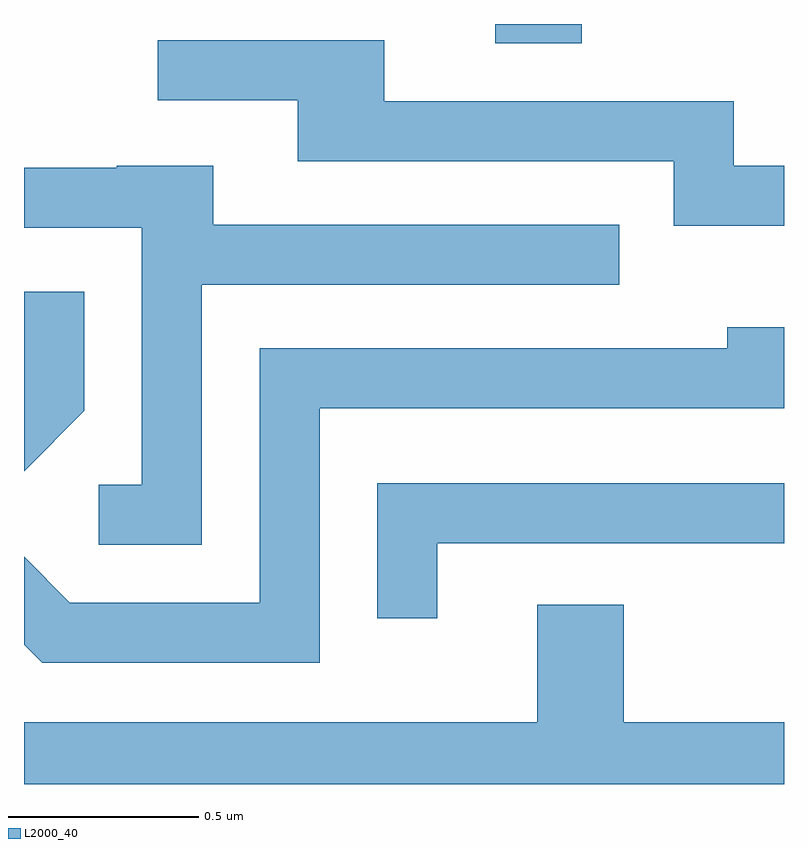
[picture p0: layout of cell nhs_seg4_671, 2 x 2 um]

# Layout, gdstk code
import gdstk
lib = gdstk.Library(unit=1e-6, precision=1e-09)
def R(c, l, rs):  # rectangles x0, y0, x1, y1
    for r in rs: c.add(gdstk.rectangle(r[:2], r[2:], *l))
def P(c, l, *ps):  # polygons
    for p in ps: c.add(gdstk.Polygon(p, *l))
L2000_40 = (2000, 40)

nhs_seg4_671 = lib.new_cell('nhs_seg4_671')
R(nhs_seg4_671, L2000_40, [(190.851,1378.931,191.079,1378.982)])
P(nhs_seg4_671, L2000_40, [(191.611,1378.609),(191.479,1378.609),(191.479,1378.779),(190.559,1378.779),(190.559,1378.939),(189.963,1378.939),(189.963,1378.781),(190.331,1378.781),(190.331,1378.621),(191.321,1378.621),(191.321,1378.451),(191.611,1378.451)],
  [(190.079,1378.296),(191.178,1378.296),(191.178,1378.454),(190.109,1378.454),(190.109,1378.609),(189.855,1378.609),(189.855,1378.604),(189.611,1378.604),(189.611,1378.446),(189.921,1378.446),(189.921,1377.769),(189.808,1377.769),(189.808,1377.611),(190.079,1377.611)],
  [(189.769,1377.964),(189.769,1378.278),(189.611,1378.278),(189.611,1377.805)],
  [(190.389,1377.971),(191.611,1377.971),(191.611,1378.184),(191.461,1378.184),(191.461,1378.129),(190.231,1378.129),(190.231,1377.459),(189.732,1377.459),(189.611,1377.58),(189.611,1377.349),(189.659,1377.301),(190.389,1377.301)],
  [(190.699,1377.616),(191.611,1377.616),(191.611,1377.774),(190.541,1377.774),(190.541,1377.418),(190.699,1377.418)],
  [(191.611,1377.144),(191.189,1377.144),(191.189,1377.454),(190.961,1377.454),(190.961,1377.144),(189.611,1377.144),(189.611,1376.982),(191.611,1376.982)])

lib.write_gds('nhs_seg4_671.gds')
